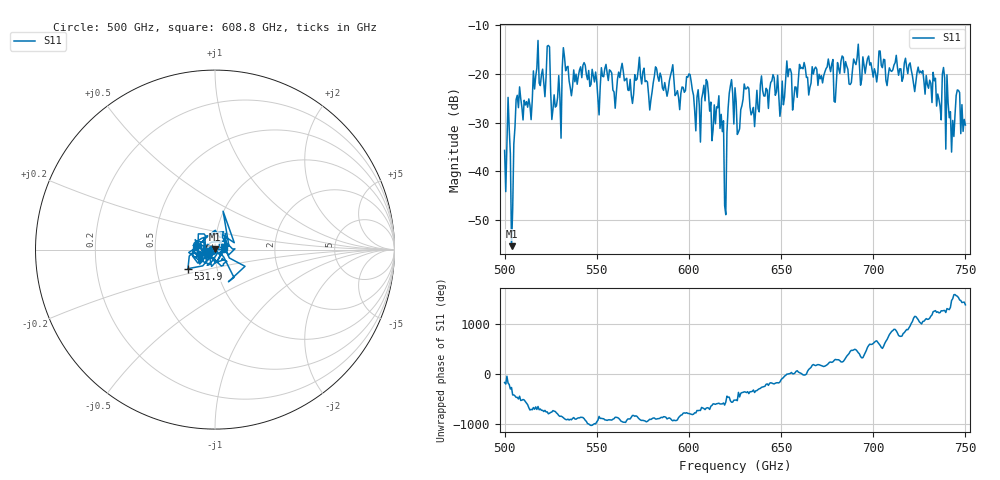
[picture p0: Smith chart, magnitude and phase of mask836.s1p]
!Created with skrf (http://scikit-rf.org).
# GHz S MA R 50.0
!freq magS11 angS11
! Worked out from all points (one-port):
!   401 points, 500 GHz to 750 GHz, reference 50 ohm
!   lowest |S11| = -55.3 dB at 503.8 GHz (marker M1), VSWR 1.00, Z = 50 + j0.17 ohm
!   |S11| at or under -10 dB: start of sweep to end of sweep
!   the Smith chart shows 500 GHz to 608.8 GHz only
!   S11 on the Smith chart (normalised r, x): 500 GHz: 0.97, -0.01; 531.9 GHz: 0.72, -0.16; 608.8 GHz: 1.11, +0.03
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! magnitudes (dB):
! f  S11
! 500 GHz  -35.7
! 501.9 GHz  -24.9
! 503.8 GHz  -55.3
! 507.5 GHz  -27.0
! 513.8 GHz  -26.5
! 516.9 GHz  -20.6
! 523.8 GHz  -14.2
! 526.9 GHz  -24.3
! 531.2 GHz  -18.9
! 531.9 GHz  -14.7
! 562.5 GHz  -20.8
! 579.4 GHz  -25.4
! 590.6 GHz  -19.4
! 593.8 GHz  -23.5
! 600 GHz  -20.1
! 605 GHz  -23.3
! 608.8 GHz  -25.6
! 617.5 GHz  -28.3
! 619.4 GHz  -47.0
! 622.5 GHz  -22.5
! 625 GHz  -22.9
! 656.2 GHz  -27.5
! 687.5 GHz  -22.2
! 718.8 GHz  -20.0
! 738.8 GHz  -20.9
! 742.5 GHz  -36.1
! 745.6 GHz  -23.3
! 750 GHz  -30.5
